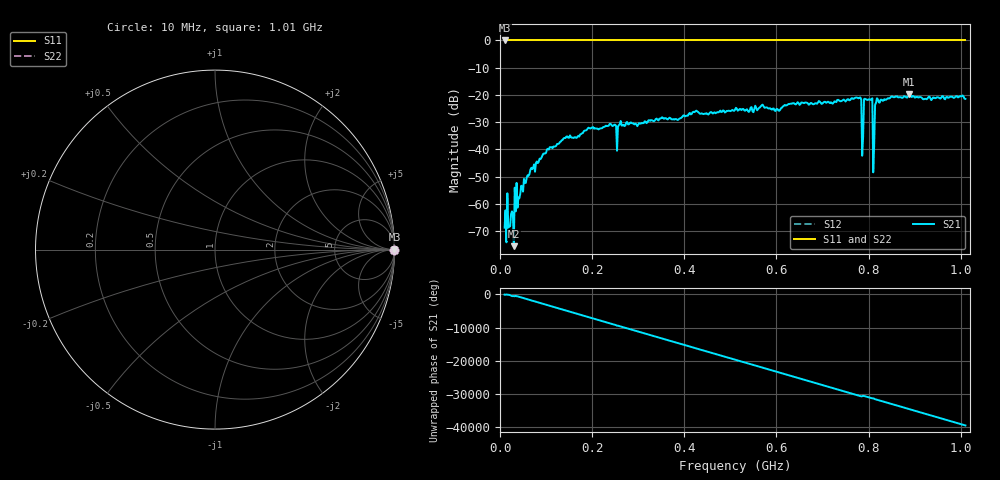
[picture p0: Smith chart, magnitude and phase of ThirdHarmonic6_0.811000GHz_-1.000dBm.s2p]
! 8/16/2025 3:00:29 AM
! C:\ANRITSUVNA\TEMP\TEMP.S2P
! CHANNEL.1
! TR.MEASUREMENT
! RAW.DATA
! RF.CORRECTION.OFF
! AVERAGING.OFF
! IF.BANDWIDTH: 5KHZ
! SWEEPTYPE:  FREQ.SWEEP(Linear)
! Reference Plane Port Info
! PORT:  PORT1  PORT2
! DISTANCE:  0  m  0  m
! TIME:  0  s  0  s
! PHASE.OFFSET:  0  deg.  0  deg.
! LOSS:  0  dB  0  dB
! REF.LOSS:  0  dB  0  dB
! REF.FREQ:  0  Hz  0  Hz
! Power Info
! POWER:  -20  dBm  -20  dBm
! EFF.POWER:  -20  dBm  -20  dBm
! SOURCE.ATTEN:  0  dB  0  dB
! TEST.ATTEN:  0  dB  0  dB
# GHZ S RI R 50.0
! FREQ.GHZ  S11RE  S11IM  S21RE  S21IM  S12RE  S12IM  S22RE  S22IM
!; PortSelection: Port_12
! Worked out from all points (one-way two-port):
!   501 points, 10 MHz to 1.01 GHz, reference 50 ohm
!   highest |S21| = -19.64 dB at 888 MHz (marker M1); lowest = -75.5 dB at 30 MHz (marker M2)
!   lowest |S11| = 0.0 dB at 10 MHz (marker M3)
!   |S11| at or under -10 dB: nowhere
!   |S22| runs from 0.0 to 0.0 dB; largest |S21 - S12| = 1.1
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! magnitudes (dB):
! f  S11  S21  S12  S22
! 10 MHz  0.0  -68.7  0.0  0.0
! 26 MHz  0.0  -62.7  0.0  0.0
! 30 MHz  0.0  -75.5  0.0  0.0
! 36 MHz  0.0  -52.3  0.0  0.0
! 70 MHz  0.0  -47.2  0.0  0.0
! 106 MHz  0.0  -40.0  0.0  0.0
! 178 MHz  0.0  -34.1  0.0  0.0
! 344 MHz  0.0  -29.3  0.0  0.0
! 510 MHz  0.0  -25.4  0.0  0.0
! 678 MHz  0.0  -23.3  0.0  0.0
! 778 MHz  0.0  -21.2  0.0  0.0
! 780 MHz  0.0  -21.0  0.0  0.0
! 784 MHz  0.0  -21.7  0.0  0.0
! 790 MHz  0.0  -21.6  0.0  0.0
! 794 MHz  0.0  -21.6  0.0  0.0
! 804 MHz  0.0  -21.7  0.0  0.0
! 808 MHz  0.0  -21.2  0.0  0.0
! 814 MHz  0.0  -23.6  0.0  0.0
! 818 MHz  0.0  -21.2  0.0  0.0
! 844 MHz  0.0  -21.3  0.0  0.0
! 888 MHz  0.0  -19.6  0.0  0.0
! 1.01 GHz  0.0  -21.4  0.0  0.0
